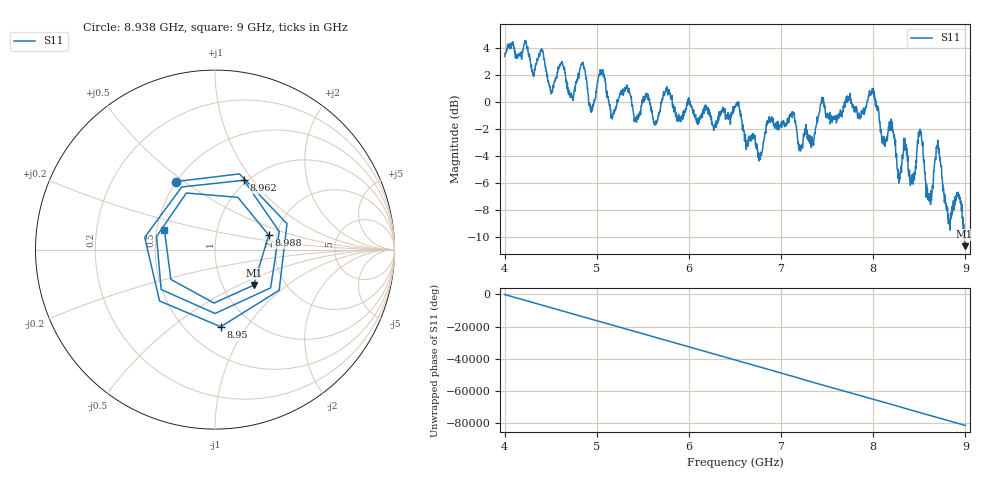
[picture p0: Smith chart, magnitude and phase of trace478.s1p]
! Created with skrf 1.8.0 (http://scikit-rf.org).
# Hz S RI R 50.0
!freq ReS11 ImS11
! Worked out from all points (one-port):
!   1601 points, 4 GHz to 9 GHz, reference 50 ohm
!   lowest |S11| = -10.7 dB at 8.991 GHz (marker M1), VSWR 1.83, Z = 69.8 - j30.3 ohm
!   |S11| at or under -10 dB: 8.984822 GHz to end of sweep
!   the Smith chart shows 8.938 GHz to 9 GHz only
!   S11 on the Smith chart (normalised r, x): 8.938 GHz: 0.50, +0.47; 8.95 GHz: 0.73, -0.77; 8.962 GHz: 0.97, +0.91; 8.988 GHz: 1.82, +0.32; 9 GHz: 0.55, +0.13
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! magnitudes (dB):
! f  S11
! 4 GHz  3.4
! 4.625 GHz  2.9
! 4.728 GHz  0.4
! 4.85 GHz  2.8
! 4.938 GHz  -0.3
! 5.044 GHz  2.2
! 5.162 GHz  -1.0
! 5.25 GHz  0.5
! 5.875 GHz  -1.2
! 6.5 GHz  -0.3
! 6.772 GHz  -3.8
! 7.125 GHz  -0.8
! 7.209 GHz  -3.5
! 7.75 GHz  0.7
! 7.994 GHz  1.0
! 8.281 GHz  -5.5
! 8.375 GHz  -4.0
! 8.428 GHz  -5.3
! 8.512 GHz  -2.4
! 8.597 GHz  -6.9
! 8.7 GHz  -2.8
! 8.809 GHz  -8.7
! 8.938 GHz  -7.2
! 8.95 GHz  -7.3
! 8.962 GHz  -7.6
! 8.988 GHz  -10.2
! 8.991 GHz  -10.7
! 9 GHz  -10.4
